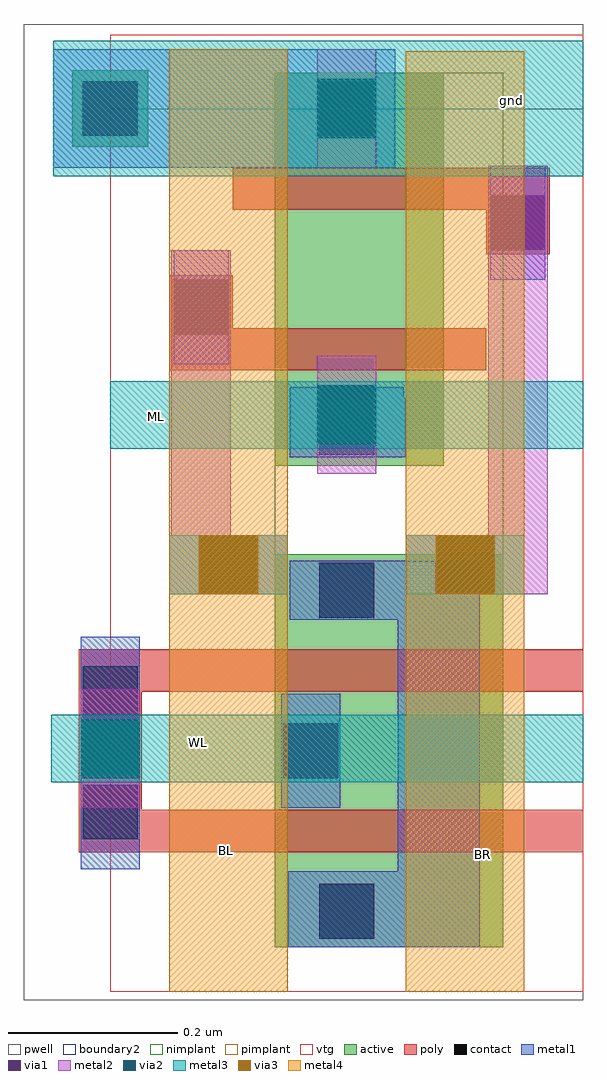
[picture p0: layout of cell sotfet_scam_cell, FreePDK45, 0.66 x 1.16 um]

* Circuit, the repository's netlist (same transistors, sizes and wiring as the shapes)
************************************************************************
* auCdl Netlist:
* 
* Library Name:  spintronics
* Top Cell Name: sotfet_scam_cell
* View Name:     schematic_for_lvs
* Netlisted on:  Sep 14 11:43:56 2021
************************************************************************

*.EQUATION
*.SCALE METER
*.MEGA
.PARAM



************************************************************************
* Library Name: spintronics
* Cell Name:    sotfet_scam_cell
* View Name:    schematic_for_lvs
************************************************************************

.SUBCKT sotfet_scam_cell BL BR ML WL gnd
MM0 ML BL vmid gnd NMOS_VTG W=200n L=50n m=1
MM2 gnd BR vmid gnd NMOS_VTG W=200n L=50n m=1
MM3 sot_1_gate WL sot_2_gate gnd NMOS_VTG W=270.0n L=50n m=2
.ENDS

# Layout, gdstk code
from math import pi, radians
import gdstk
lib = gdstk.Library(unit=1e-6, precision=5e-10)
def R(c, l, rs):  # rectangles x0, y0, x1, y1
    for r in rs: c.add(gdstk.rectangle(r[:2], r[2:], *l))
active = (1, 0)
pwell = (2, 0)
nimplant = (4, 0)
pimplant = (5, 0)
vtg = (6, 0)
poly = (9, 0)
contact = (10, 0)
metal1 = (11, 0)
via1 = (12, 0)
metal2 = (13, 0)
via2 = (14, 0)
metal3 = (15, 0)
via3 = (16, 0)
metal4 = (17, 0)
boundary2 = (239, 0)

m2_m1_cdns_631634288770 = lib.new_cell('M2_M1_CDNS_631634288770')
R(m2_m1_cdns_631634288770, metal1, [(-0.0325,-0.0675,0.0325,0.0675)])
R(m2_m1_cdns_631634288770, via1, [(-0.0325,-0.0325,0.0325,0.0325)])
R(m2_m1_cdns_631634288770, metal2, [(-0.035,-0.0675,0.035,0.0675)])

m3_m2_cdns_631634288771 = lib.new_cell('M3_M2_CDNS_631634288771')
R(m3_m2_cdns_631634288771, metal2, [(-0.035,-0.07,0.035,0.07)])
R(m3_m2_cdns_631634288771, via2, [(-0.035,-0.035,0.035,0.035)])
R(m3_m2_cdns_631634288771, metal3, [(-0.035,-0.07,0.035,0.07)])

m2_m1_cdns_631634288772 = lib.new_cell('M2_M1_CDNS_631634288772')
R(m2_m1_cdns_631634288772, metal1, [(-0.0325,-0.0675,0.0325,0.0675)])
R(m2_m1_cdns_631634288772, via1, [(-0.0325,-0.0325,0.0325,0.0325)])
R(m2_m1_cdns_631634288772, metal2, [(-0.0675,-0.035,0.0675,0.035)])

m1_poly_cdns_63163428877 = lib.new_cell('M1_POLY_CDNS_631634288773')
R(m1_poly_cdns_63163428877, poly, [(-0.0375,-0.0375,0.0375,0.0375)])
R(m1_poly_cdns_63163428877, contact, [(-0.0325,-0.0325,0.0325,0.0325)])
R(m1_poly_cdns_63163428877, metal1, [(-0.0325,-0.0675,0.0325,0.0675)])

m4_m3_cdns_631634288774 = lib.new_cell('M4_M3_CDNS_631634288774')
R(m4_m3_cdns_631634288774, metal3, [(-0.035,-0.07,0.035,0.07)])
R(m4_m3_cdns_631634288774, via3, [(-0.035,-0.035,0.035,0.035)])
R(m4_m3_cdns_631634288774, metal4, [(-0.07,-0.07,0.07,0.07)])

m3_m2_cdns_631634288775 = lib.new_cell('M3_M2_CDNS_631634288775')
R(m3_m2_cdns_631634288775, metal2, [(-0.035,-0.07,0.035,0.07)])
R(m3_m2_cdns_631634288775, via2, [(-0.035,-0.035,0.035,0.035)])
R(m3_m2_cdns_631634288775, metal3, [(-0.07,-0.035,0.07,0.035)])

ptap_cdns_631634288776 = lib.new_cell('PTAP_CDNS_631634288776')
R(ptap_cdns_631634288776, active, [(-0.045,-0.045,0.045,0.045)])
R(ptap_cdns_631634288776, pwell, [(-0.1,-0.1,0.1,0.1)])
R(ptap_cdns_631634288776, pimplant, [(-0.045,-0.045,0.045,0.045)])
R(ptap_cdns_631634288776, contact, [(-0.0325,-0.0325,0.0325,0.0325)])
R(ptap_cdns_631634288776, metal1, [(-0.0325,-0.0675,0.0325,0.0675)])

sotfet_scam_cell = lib.new_cell('sotfet_scam_cell')
R(sotfet_scam_cell, active, [(0.195,0.0525,0.465,0.5175), (0.195,0.6225,0.395,1.0875)])
R(sotfet_scam_cell, pwell, [(-0.1025,-0.01,0.56,1.145)])
R(sotfet_scam_cell, nimplant, [(0.195,0.0525,0.465,1.0875)])
R(sotfet_scam_cell, vtg, [(0,0,0.56,1.1325)])
R(sotfet_scam_cell, poly, [(-0.0375,0.165,0.0375,0.405), (-0.0375,0.165,0.56,0.215), (-0.0375,0.355,0.56,0.405), (0.07,0.735,0.445,0.785), (0.145,0.925,0.445,0.975), (0.445,0.925,0.52,0.975)])
R(sotfet_scam_cell, contact, [(0.2475,0.0625,0.3125,0.1275), (-0.0325,0.18,0.0325,0.245), (0.205,0.2525,0.27,0.3175), (-0.0325,0.32,0.0325,0.385), (0.2475,0.4425,0.3125,0.5075), (0.2475,0.635,0.3125,0.7), (0.2475,1.0125,0.3125,1.0775)])
R(sotfet_scam_cell, metal1, [(0.21,0.0525,0.4375,0.1425), (0.34,0.065,0.4375,0.51), (-0.035,0.145,0.035,0.42), (0.2025,0.2175,0.2725,0.3525), (0.2125,0.44,0.365,0.51), (0.2125,0.6325,0.35,0.7025), (-0.0675,0.975,0.3375,1.115)])
R(sotfet_scam_cell, metal2, [(0.0725,0.47,0.1425,0.8775), (0.4475,0.47,0.5175,0.9775)])
R(sotfet_scam_cell, metal3, [(-0.07,0.2475,0.56,0.3275), (0,0.6425,0.56,0.7225), (-0.0675,0.965,0.56,1.125)])
R(sotfet_scam_cell, metal4, [(0.07,0,0.21,1.115), (0.35,0,0.49,1.1125)])
R(sotfet_scam_cell, boundary2, [(0,0,0.56,1.045)])
sotfet_scam_cell.add(gdstk.Reference(m2_m1_cdns_631634288770, (0.4825,0.91)))
sotfet_scam_cell.add(gdstk.Reference(m2_m1_cdns_631634288770, (0.28,1.045)))
sotfet_scam_cell.add(gdstk.Reference(m2_m1_cdns_631634288770, (0,0.2875)))
sotfet_scam_cell.add(gdstk.Reference(m2_m1_cdns_631634288770, (0.1075,0.81)))
sotfet_scam_cell.add(gdstk.Reference(m3_m2_cdns_631634288771, (0.14,0.505), rotation=pi/2))
sotfet_scam_cell.add(gdstk.Reference(m3_m2_cdns_631634288771, (0.42,0.505), rotation=pi/2))
sotfet_scam_cell.add(gdstk.Reference(m2_m1_cdns_631634288772, (0.28,0.6825), rotation=3*pi/2))
sotfet_scam_cell.add(gdstk.Reference(m1_poly_cdns_63163428877, (0.1075,0.81), rotation=pi))
sotfet_scam_cell.add(gdstk.Reference(m1_poly_cdns_63163428877, (0.4825,0.91)))
sotfet_scam_cell.add(gdstk.Reference(m4_m3_cdns_631634288774, (0.42,0.505), rotation=pi/2))
sotfet_scam_cell.add(gdstk.Reference(m4_m3_cdns_631634288774, (0.14,0.505), rotation=pi/2))
sotfet_scam_cell.add(gdstk.Reference(m3_m2_cdns_631634288775, (0.28,0.6825)))
sotfet_scam_cell.add(gdstk.Reference(m3_m2_cdns_631634288775, (0.28,1.045)))
sotfet_scam_cell.add(gdstk.Reference(m3_m2_cdns_631634288775, (0,0.2875)))
sotfet_scam_cell.add(gdstk.Reference(ptap_cdns_631634288776, (0,1.045), rotation=pi/2))
sotfet_scam_cell.add(gdstk.Label('BL', (0.1375,0.1675), layer=17, texttype=0))
sotfet_scam_cell.add(gdstk.Label('BR', (0.44,0.1625), layer=17, texttype=0))
sotfet_scam_cell.add(gdstk.Label('gnd', (0.475,1.055), layer=15, texttype=0))
sotfet_scam_cell.add(gdstk.Label('ML', (0.055,0.68), layer=15, texttype=0))
sotfet_scam_cell.add(gdstk.Label('WL', (0.105,0.295), layer=15, texttype=0))

lib.write_gds('sotfet_scam_cell.gds')
